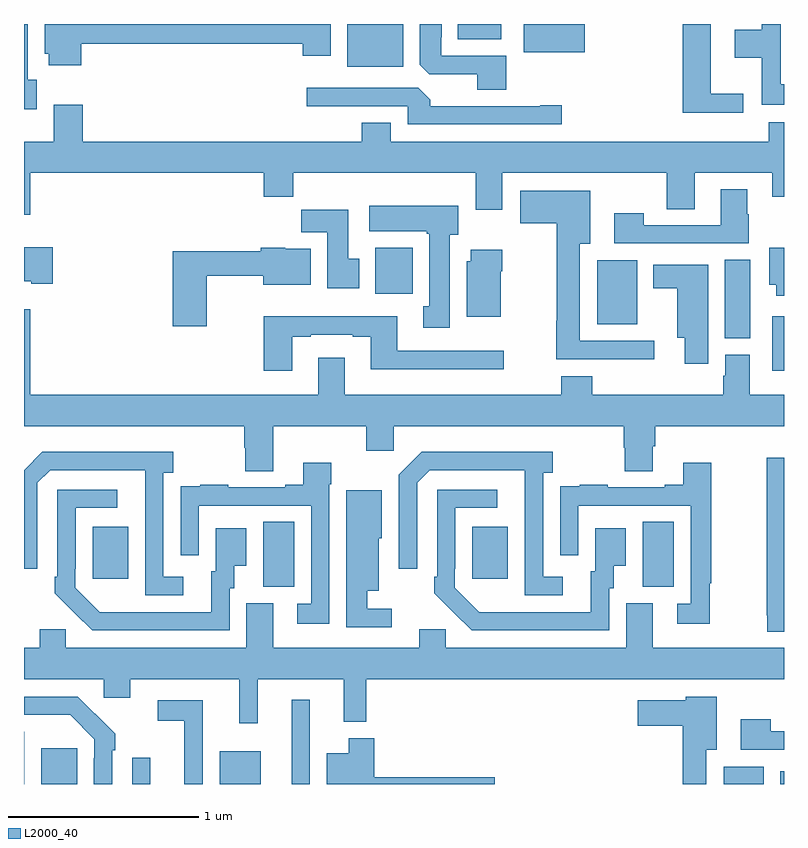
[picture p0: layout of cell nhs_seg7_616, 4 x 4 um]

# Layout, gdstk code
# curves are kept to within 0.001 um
import gdstk
lib = gdstk.Library(unit=1e-6, precision=1e-09)
def R(c, l, rs):  # rectangles x0, y0, x1, y1
    for r in rs: c.add(gdstk.rectangle(r[:2], r[2:], *l))
def P(c, l, *ps):  # polygons
    for p in ps: c.add(gdstk.Polygon(p, *l))
L2000_40 = (2000, 40)

nhs_seg7_616 = lib.new_cell('nhs_seg7_616')
R(nhs_seg7_616, L2000_40, [(157,1064,157.002,1064.274), (157.091,1064,157.279,1064.188), (157.569,1064,157.665,1064.137), (158.03,1064,158.245,1064.173), (158.408,1064,158.505,1064.443), (160.682,1064,160.894,1064.092), (160.979,1064,161,1064.068), (158.258,1065.037,158.422,1065.38), (160.256,1065.037,160.42,1065.38), (157.361,1065.081,157.549,1065.355), (159.359,1065.081,159.547,1065.355), (160.937,1066.176,161,1066.461), (160.688,1066.345,160.822,1066.76), (160.016,1066.421,160.228,1066.756), (158.849,1066.58,159.046,1066.822), (158.702,1067.774,158.995,1068), (159.63,1067.852,159.952,1068), (159.284,1067.921,159.511,1068)])
P(nhs_seg7_616, L2000_40, [(161,1067.683),(160.983,1067.683),(160.983,1068),(160.882,1068),(160.882,1067.97),(160.74,1067.97),(160.74,1067.822),(160.882,1067.822),(160.882,1067.574),(161,1067.574)],
  [(159.539,1067.832),(159.195,1067.832),(159.195,1067.929),(159.199,1067.929),(159.199,1068),(159.083,1068),(159.083,1067.785),(159.132,1067.736),(159.386,1067.736),(159.386,1067.653),(159.539,1067.653)],
  [(157.066,1067.706),(157.021,1067.706),(157.021,1068),(157,1068),(157,1067.552),(157.066,1067.552)],
  [(160.786,1067.633),(160.615,1067.633),(160.615,1068),(160.466,1068),(160.466,1067.534),(160.786,1067.534)],
  [(157.301,1067.896),(158.468,1067.896),(158.468,1067.832),(158.614,1067.832),(158.614,1068),(157.109,1068),(157.109,1067.844),(157.13,1067.844),(157.13,1067.784),(157.301,1067.784)],
  [(159.829,1067.573),(159.716,1067.573),(159.716,1067.568),(159.137,1067.568),(159.137,1067.602),(159.075,1067.664),(158.487,1067.664),(158.487,1067.568),(159.021,1067.568),(159.021,1067.472),(159.829,1067.472)],
  [(157.033,1067.216),(158.261,1067.216),(158.261,1067.092),(158.417,1067.092),(158.417,1067.216),(159.377,1067.216),(159.377,1067.022),(159.517,1067.022),(159.517,1067.216),(160.384,1067.216),(160.384,1067.026),(160.531,1067.026),(160.531,1067.216),(160.937,1067.216),(160.937,1067.092),(161,1067.092),(161,1067.482),(160.919,1067.482),(160.919,1067.38),(158.929,1067.38),(158.929,1067.479),(158.777,1067.479),(158.777,1067.38),(157.31,1067.38),(157.31,1067.575),(157.157,1067.575),(157.157,1067.38),(157,1067.38),(157,1066.995),(157.033,1066.995)],
  [(160.815,1067),(160.807,1067),(160.807,1067.131),(160.667,1067.131),(160.667,1066.941),(160.263,1066.941),(160.263,1067.005),(160.107,1067.005),(160.107,1066.845),(160.815,1066.845)],
  [(160.318,1066.332),(159.925,1066.332),(159.925,1066.844),(159.979,1066.844),(159.979,1067.122),(159.612,1067.122),(159.612,1066.952),(159.805,1066.952),(159.805,1066.439),(159.8,1066.439),(159.8,1066.235),(160.318,1066.235)],
  [(159.241,1066.89),(159.286,1066.89),(159.286,1067.044),(158.817,1067.044),(158.817,1066.91),(159.121,1066.91),(159.121,1066.897),(159.134,1066.897),(159.134,1066.514),(159.101,1066.514),(159.101,1066.401),(159.241,1066.401)],
  [(158.764,1066.764),(158.707,1066.764),(158.707,1067.023),(158.458,1067.023),(158.458,1066.904),(158.597,1066.904),(158.597,1066.608),(158.764,1066.608)],
  [(157.15,1066.825),(157,1066.825),(157,1066.646),(157.037,1066.646),(157.037,1066.634),(157.15,1066.634)],
  [(157.962,1066.675),(158.258,1066.675),(158.258,1066.628),(158.509,1066.628),(158.509,1066.816),(158.376,1066.816),(158.376,1066.822),(158.246,1066.822),(158.246,1066.804),(157.784,1066.804),(157.784,1066.41),(157.962,1066.41)],
  [(161,1066.822),(160.922,1066.822),(160.922,1066.628),(160.958,1066.628),(160.958,1066.571),(161,1066.571)],
  [(159.508,1066.7),(159.516,1066.7),(159.516,1066.813),(159.35,1066.813),(159.35,1066.752),(159.329,1066.752),(159.329,1066.46),(159.508,1066.46)],
  [(160.6,1066.732),(160.313,1066.732),(160.313,1066.61),(160.439,1066.61),(160.439,1066.349),(160.478,1066.349),(160.478,1066.212),(160.6,1066.212)],
  [(161,1066.048),(160.819,1066.048),(160.819,1066.26),(160.691,1066.26),(160.691,1066.149),(160.679,1066.149),(160.679,1066.048),(159.992,1066.048),(159.992,1066.147),(159.827,1066.147),(159.827,1066.048),(158.689,1066.048),(158.689,1066.243),(158.549,1066.243),(158.549,1066.048),(157.033,1066.048),(157.033,1066.498),(157,1066.498),(157,1065.884),(158.159,1065.884),(158.159,1065.771),(158.164,1065.771),(158.164,1065.646),(158.311,1065.646),(158.311,1065.884),(158.8,1065.884),(158.8,1065.753),(158.946,1065.753),(158.946,1065.884),(160.157,1065.884),(160.157,1065.771),(160.162,1065.771),(160.162,1065.646),(160.309,1065.646),(160.309,1065.778),(160.322,1065.778),(160.322,1065.884),(161,1065.884)],
  [(158.413,1066.353),(158.509,1066.353),(158.509,1066.365),(158.729,1066.365),(158.729,1066.353),(158.825,1066.353),(158.825,1066.184),(159.526,1066.184),(159.526,1066.281),(158.965,1066.281),(158.965,1066.462),(158.261,1066.462),(158.261,1066.176),(158.413,1066.176)],
  [(159.835,1065.09),(159.732,1065.09),(159.732,1065.638),(159.784,1065.638),(159.784,1065.748),(159.094,1065.748),(158.973,1065.627),(158.973,1065.132),(159.069,1065.132),(159.069,1065.585),(159.135,1065.651),(159.635,1065.651),(159.636,1064.994),(159.835,1064.994)],
  [(157.837,1065.09),(157.734,1065.09),(157.734,1065.638),(157.786,1065.638),(157.786,1065.748),(157.096,1065.748),(157,1065.652),(157,1065.132),(157.071,1065.132),(157.071,1065.585),(157.137,1065.651),(157.637,1065.651),(157.638,1064.994),(157.837,1064.994)],
  [(161,1065.718),(160.908,1065.718),(160.908,1064.889),(160.912,1064.889),(160.912,1064.802),(161,1064.802)],
  [(158.607,1065.578),(158.616,1065.578),(158.616,1065.691),(158.471,1065.691),(158.471,1065.574),(158.375,1065.574),(158.375,1065.561),(158.075,1065.561),(158.075,1065.574),(157.927,1065.574),(157.927,1065.567),(157.825,1065.567),(157.825,1065.458),(157.824,1065.458),(157.824,1065.204),(157.92,1065.204),(157.92,1065.465),(158.511,1065.465),(158.511,1064.949),(158.439,1064.949),(158.439,1064.844),(158.607,1064.844)],
  [(160.61,1065.056),(160.618,1065.056),(160.618,1065.691),(160.469,1065.691),(160.469,1065.574),(160.373,1065.574),(160.373,1065.561),(160.073,1065.561),(160.073,1065.574),(159.925,1065.574),(159.925,1065.567),(159.823,1065.567),(159.823,1065.458),(159.822,1065.458),(159.822,1065.204),(159.918,1065.204),(159.918,1065.465),(160.509,1065.465),(160.509,1064.949),(160.437,1064.949),(160.437,1064.844),(160.61,1064.844)],
  [(160.08,1065.03),(160.105,1065.03),(160.105,1065.149),(160.168,1065.149),(160.168,1065.346),(160.007,1065.346),(160.007,1065.12),(159.983,1065.12),(159.983,1064.904),(159.396,1064.905),(159.267,1065.033),(159.267,1065.133),(159.27,1065.133),(159.27,1065.453),(159.49,1065.453),(159.49,1065.549),(159.174,1065.549),(159.174,1065.091),(159.159,1065.091),(159.159,1065.003),(159.356,1064.808),(160.08,1064.808)],
  [(158.082,1065.03),(158.107,1065.03),(158.107,1065.149),(158.17,1065.149),(158.17,1065.346),(158.009,1065.346),(158.009,1065.12),(157.985,1065.12),(157.985,1064.904),(157.398,1064.905),(157.269,1065.033),(157.269,1065.133),(157.272,1065.133),(157.272,1065.453),(157.492,1065.453),(157.492,1065.549),(157.176,1065.549),(157.176,1065.091),(157.161,1065.091),(157.161,1065.003),(157.358,1064.808),(158.082,1064.808)],
  [(158.935,1064.922),(158.806,1064.922),(158.806,1065.017),(158.866,1065.017),(158.866,1065.294),(158.884,1065.294),(158.884,1065.547),(158.696,1065.547),(158.696,1065.121),(158.697,1065.121),(158.697,1064.826),(158.935,1064.826)],
  [(158.231,1064.552),(158.684,1064.552),(158.684,1064.327),(158.801,1064.327),(158.801,1064.552),(161,1064.552),(161,1064.716),(160.309,1064.716),(160.309,1064.952),(160.169,1064.952),(160.169,1064.716),(159.219,1064.716),(159.219,1064.814),(159.08,1064.814),(159.08,1064.716),(158.311,1064.716),(158.311,1064.952),(158.171,1064.952),(158.171,1064.716),(157.221,1064.716),(157.221,1064.814),(157.082,1064.814),(157.082,1064.716),(157,1064.716),(157,1064.552),(157.419,1064.552),(157.419,1064.454),(157.558,1064.454),(157.558,1064.552),(158.132,1064.552),(158.132,1064.319),(158.231,1064.319)],
  [(157.464,1064.177),(157.479,1064.177),(157.479,1064.265),(157.282,1064.46),(157,1064.46),(157,1064.364),(157.243,1064.364),(157.371,1064.235),(157.371,1064.135),(157.368,1064.135),(157.368,1064),(157.464,1064)],
  [(160.591,1064.18),(160.645,1064.18),(160.645,1064.458),(160.482,1064.458),(160.482,1064.44),(160.23,1064.44),(160.23,1064.306),(160.466,1064.306),(160.466,1064),(160.591,1064)],
  [(157.941,1064.442),(157.704,1064.442),(157.704,1064.334),(157.844,1064.334),(157.844,1064),(157.941,1064)],
  [(161,1064.277),(160.929,1064.277),(160.929,1064.341),(160.773,1064.341),(160.773,1064.181),(161,1064.181)],
  [(159.478,1064.036),(158.843,1064.036),(158.843,1064.242),(158.708,1064.242),(158.708,1064.161),(158.594,1064.161),(158.594,1064),(159.478,1064)])

lib.write_gds('nhs_seg7_616.gds')
